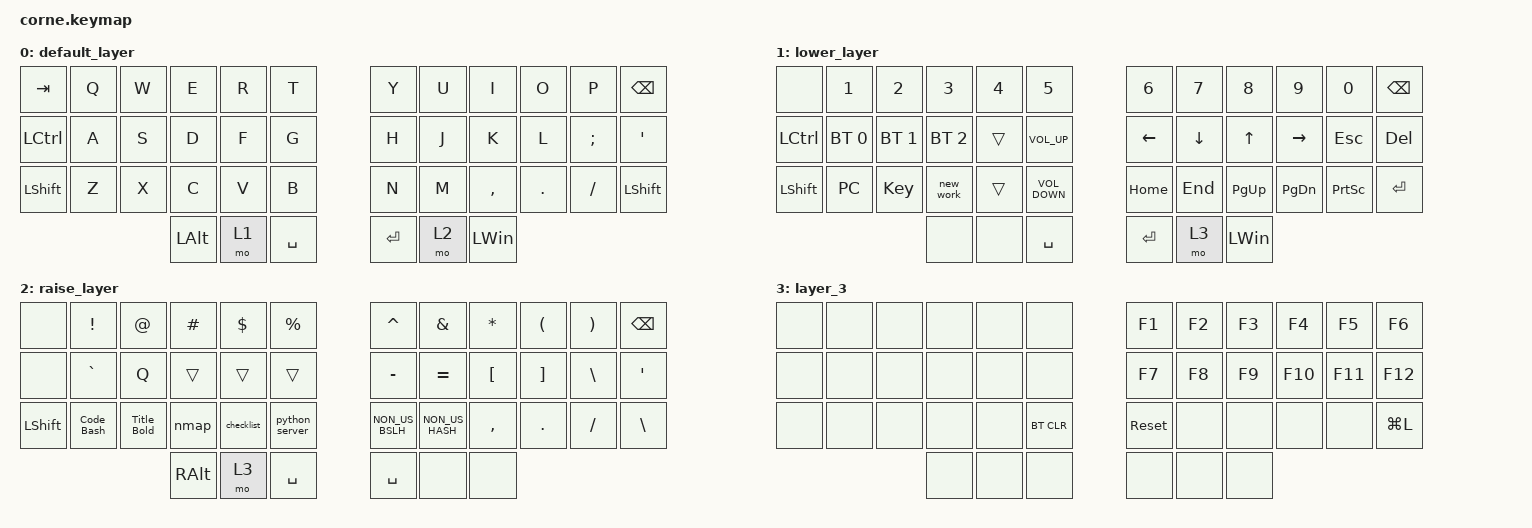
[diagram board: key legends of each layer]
/*
 * Copyright (c) 2020 The ZMK Contributors
 *
 * SPDX-License-Identifier: MIT
 */

#include <behaviors.dtsi>
#include <dt-bindings/zmk/bt.h>
#include <dt-bindings/zmk/keys.h>

/ {
    macros {
        PC: PC_Pass {
            compatible = "zmk,behavior-macro";
            #binding-cells = <0>;
            bindings = <&none &kp N1 &kp N2 &kp N3 &kp N4 &kp N5 &kp N4 &kp N3 &kp N2 &kp N1>;
            label = "PC_PASS";
        };

        Key: Key_Pass {
            compatible = "zmk,behavior-macro";
            #binding-cells = <0>;
            bindings = <&kp LS(N) &kp N0 &kp V &kp I &kp N3 &kp M &kp B &kp R &kp N3 &kp LS(RIGHT_BRACKET) &kp N2 &kp N9>;
            label = "KEY_PASS";
        };

        lectura: lectura {
            compatible = "zmk,behavior-macro";
            #binding-cells = <0>;
            bindings = <&kp A &kp L &kp J &kp B &kp N6 &kp N2>;
            label = "LECTURA";
        };

        escritura: escritura {
            compatible = "zmk,behavior-macro";
            #binding-cells = <0>;
            bindings = <&kp A &kp L &kp J &kp B &kp N1 &kp N0>;
            label = "ESCRITURA";
        };

        work: work {
            compatible = "zmk,behavior-macro";
            #binding-cells = <0>;
            bindings = <&kp S &kp LS(E) &kp LS(T) &kp S &kp G &kp Z &kp LS(S) &kp LS(E) &kp D &kp LS(S) &kp A &kp LS(S) &kp N2 &kp LS(S) &kp LS(F) &kp N4>;
            label = "WORK";
        };

        new_work: new_work {
            compatible = "zmk,behavior-macro";
            #binding-cells = <0>;
            bindings = <&none &kp LS(V) &kp N7 &kp U &kp E &kp B &kp B &kp DLLR &kp LS(V) &kp LS(Q) &kp LS(M) &kp U &kp LS(U) &kp LS(B) &kp N9 &kp LS(X) &kp LS(Q)>;
            label = "NEW_WORK";
        };

        Title_Bold: Title_Bold {
            compatible = "zmk,behavior-macro";
            #binding-cells = <0>;
            bindings = <&none &kp POUND &kp POUND &kp POUND &kp SPACE &kp LS(RBKT) &kp LS(RBKT) &kp LS(T) &kp I &kp T &kp L &kp E &kp LS(RBKT) &kp LS(RBKT)>;
            label = "TITLE_BOLD";
        };

        Code_Bash: Code_Bash {
            compatible = "zmk,behavior-macro";
            #binding-cells = <0>;
            bindings = <&none &kp RA(NUHS) &kp RA(NUHS) &kp RA(NUHS) &kp RA(NUHS) &kp BACKSPACE &kp B &kp A &kp S &kp H &kp ENTER>;
            label = "CODE_BASH";
        };

        nmap: nmap {
            compatible = "zmk,behavior-macro";
            #binding-cells = <0>;
            bindings = <&none &kp N &kp M &kp A &kp P &kp SPACE &kp FSLH &kp S &kp LS(C) &kp SPACE &kp FSLH &kp S &kp LS(V) &kp SPACE &kp FSLH &kp P &kp FSLH &kp SPACE &kp FSLH &kp O &kp LS(N) &kp SPACE &kp N &kp M &kp A &kp P &kp DOT &kp T &kp X &kp T &kp SPACE>;
            label = "NMAP";
        };

        checklist: checklist {
            compatible = "zmk,behavior-macro";
            #binding-cells = <0>;
            bindings = <&none &kp FSLH &kp SPACE &kp DQT &kp SPACE &kp PIPE>;
            label = "CHECKLIST";
        };

        python_server: python_server {
            compatible = "zmk,behavior-macro";
            #binding-cells = <0>;
            bindings = <&none &kp P &kp Y &kp T &kp H &kp O &kp N &kp N3 &kp SPACE &kp FSLH &kp M &kp SPACE &kp H &kp T &kp T &kp P &kp DOT &kp S &kp E &kp R &kp V &kp E &kp R &kp SPACE &kp N8 &kp N0 &kp N8 &kp N0>;
            label = "PYTHON_SERVER";
        };
    };

    keymap {
        compatible = "zmk,keymap";

        default_layer {
            // -----------------------------------------------------------------------------------------
            // |  TAB |  Q  |  W  |  E  |  R  |  T  |   |  Y  |  U   |  I  |  O  |  P  | BSPC |
            // | CTRL |  A  |  S  |  D  |  F  |  G  |   |  H  |  J   |  K  |  L  |  ;  |  '   |
            // | SHFT |  Z  |  X  |  C  |  V  |  B  |   |  N  |  M   |  ,  |  .  |  /  | ESC  |
            //                    | GUI | LWR | SPC |   | ENT | RSE  | ALT |

            bindings = <
&kp TAB    &kp Q  &kp W  &kp E         &kp R  &kp T        &kp Y      &kp U  &kp I         &kp O    &kp P     &kp BSPC
&kp LCTRL  &kp A  &kp S  &kp D         &kp F  &kp G        &kp H      &kp J  &kp K         &kp L    &kp SEMI  &kp APOS
&kp LSHFT  &kp Z  &kp X  &kp C         &kp V  &kp B        &kp N      &kp M  &kp COMMA     &kp DOT  &kp FSLH  &kp LEFT_SHIFT
                         &kp LEFT_ALT  &mo 1  &kp SPACE    &kp ENTER  &mo 2  &kp LEFT_WIN
            >;
        };

        lower_layer {
            // -----------------------------------------------------------------------------------------
            // |  TAB |  1  |  2  |  3  |  4  |  5  |   |  6  |  7  |  8  |  9  |  0  | BSPC |
            // | BTCLR| BT1 | BT2 | BT3 | BT4 | BT5 |   | LFT | DWN |  UP | RGT |     |      |
            // | SHFT |     |     |     |     |     |   |     |     |     |     |     |      |
            //                    | GUI |     | SPC |   | ENT |     | ALT |

            bindings = <
&none             &kp N1        &kp N2        &kp N3        &kp N4  &kp N5               &kp N6     &kp N7    &kp N8        &kp N9         &kp N0           &kp BSPC
&kp LEFT_CONTROL  &bt BT_SEL 0  &bt BT_SEL 1  &bt BT_SEL 2  &trans  &kp C_VOLUME_UP      &kp LEFT   &kp DOWN  &kp UP        &kp RIGHT      &kp ESCAPE       &kp DEL
&kp LEFT_SHIFT    &PC           &Key          &new_work     &trans  &kp C_VOLUME_DOWN    &kp HOME   &kp END   &kp PG_UP     &kp PAGE_DOWN  &kp PRINTSCREEN  &kp ENTER
                                              &none         &none   &kp SPACE            &kp ENTER  &mo 3     &kp LEFT_WIN
            >;
        };

        raise_layer {
            // -----------------------------------------------------------------------------------------
            // |  TAB |  !  |  @  |  #  |  $  |  %  |   |  ^  |  &  |  *  |  (  |  )  | BSPC |
            // | CTRL |     |     |     |     |     |   |  -  |  =  |  [  |  ]  |  \  |  `   |
            // | SHFT |     |     |     |     |     |   |  _  |  +  |  {  |  }  | "|" |  ~   |
            //                    | GUI |     | SPC |   | ENT |     | ALT |

            bindings = <
&none           &kp EXCL    &kp AT       &kp HASH       &kp DLLR    &kp PRCNT         &kp CARET        &kp AMPS         &kp ASTRK  &kp LPAR  &kp RPAR   &kp BSPC
&none           &kp GRAVE   &kp Q        &trans         &trans      &trans            &kp MINUS        &kp EQUAL        &kp LBKT   &kp RBKT  &kp BSLH   &kp SINGLE_QUOTE
&kp LEFT_SHIFT  &Code_Bash  &Title_Bold  &nmap          &checklist  &python_server    &kp NON_US_BSLH  &kp NON_US_HASH  &kp COMMA  &kp DOT   &kp SLASH  &kp BACKSLASH
                                         &kp RIGHT_ALT  &mo 3       &kp SPACE         &kp SPACE        &none            &none
            >;
        };

        layer_3 {
            bindings = <
&none  &none  &none  &none  &none  &none         &kp F1      &kp F2  &kp F3  &kp F4   &kp F5   &kp F6
&none  &none  &none  &none  &none  &none         &kp F7      &kp F8  &kp F9  &kp F10  &kp F11  &kp F12
&none  &none  &none  &none  &none  &bt BT_CLR    &sys_reset  &none   &none   &none    &none    &kp LG(L)
                     &none  &none  &none         &none       &none   &none
            >;
        };
    };
};
